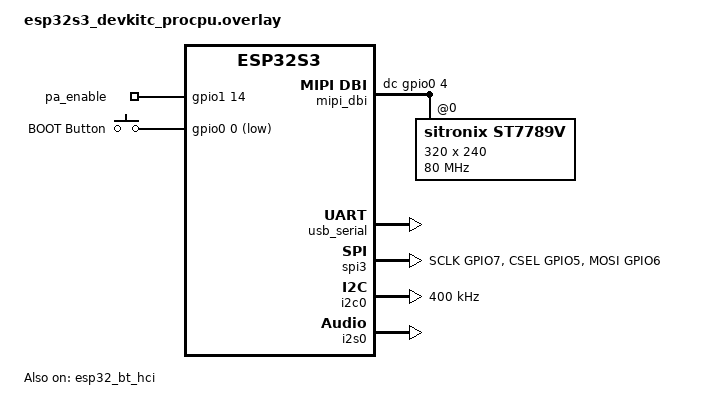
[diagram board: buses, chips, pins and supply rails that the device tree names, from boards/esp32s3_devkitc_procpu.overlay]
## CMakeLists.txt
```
cmake_minimum_required(VERSION 3.20.0)
find_package(Zephyr REQUIRED HINTS $ENV{ZEPHYR_BASE})
project(launcher)

zephyr_compile_definitions(MBEDTLS_TLS1_2_SIG_ALG_RSA_PSS_ENABLED)
zephyr_compile_definitions(MBEDTLS_X509_RSASSA_PSS_SUPPORT)

# ── Core sources ──
target_sources(app PRIVATE
    src/main.c
    src/boot_splash.c
    src/app_manager.c
    src/launcher_ui.c
    src/ble_hid.c
    src/ai_service.c
    src/audio.c
    src/base64.c
)

# ── App sources ──
target_sources(app PRIVATE
    src/apps/app_ai_assistant.c
    src/apps/app_camera.c
    src/apps/app_nes.c
    src/apps/app_photos.c
    src/apps/app_terminal.c
    src/apps/app_music.c
    src/apps/app_face.c
    src/apps/app_imu.c
)

# ── Embed 30s PCM clip into firmware as a C array (used by app_music) ──
generate_inc_file_for_target(
    app
    src/apps/song1_30s.pcm
    ${ZEPHYR_BINARY_DIR}/include/generated/song1_30s.pcm.inc
)
```

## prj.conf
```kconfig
# ── Console ──
CONFIG_PRINTK=y
CONFIG_CONSOLE=y
CONFIG_UART_CONSOLE=y
CONFIG_SERIAL=y
CONFIG_LOG=y
CONFIG_LOG_DEFAULT_LEVEL=3
CONFIG_LOG_BUFFER_SIZE=4096

# ── GPIO (backlight + PA + BOOT button) ──
CONFIG_GPIO=y

# ── I2C (ES8311 + ES7210 codec config) ──
CONFIG_I2C=y

# ── I2S (audio TX/RX) + DMA ──
CONFIG_I2S=y
CONFIG_DMA=y

# ── SPI + Display ──
CONFIG_SPI=y
CONFIG_DISPLAY=y
CONFIG_MIPI_DBI=y

# ── Camera (OV3660 via LCD-CAM parallel DVP) ──
CONFIG_VIDEO=y
CONFIG_VIDEO_BUFFER_POOL_NUM_MAX=2
CONFIG_VIDEO_BUFFER_POOL_ALIGN=32
CONFIG_VIDEO_BUFFER_USE_SHARED_MULTI_HEAP=y
CONFIG_VIDEO_BUFFER_SMH_ATTRIBUTE=2
CONFIG_DMA_ESP32_MAX_DESCRIPTOR_NUM=64
CONFIG_VIDEO_ESP32_DMA_BUFFER_MAX_SIZE=4092
CONFIG_VIDEO_OV3660_COLOR_BAR_TEST=n

# ── LVGL (pool must be >=24K for launcher UI objects) ──
CONFIG_LVGL=y
CONFIG_LV_Z_MEM_POOL_SIZE=20480
CONFIG_LV_USE_LOG=n
CONFIG_LV_FONT_MONTSERRAT_14=y
CONFIG_LV_FONT_MONTSERRAT_16=y
CONFIG_LV_FONT_MONTSERRAT_18=y
CONFIG_LV_FONT_MONTSERRAT_28=y
CONFIG_LV_FONT_SOURCE_HAN_SANS_SC_16_CJK=y
CONFIG_LV_COLOR_DEPTH_16=y
CONFIG_LV_COLOR_16_SWAP=y
CONFIG_LV_Z_VDB_SIZE=4
CONFIG_LV_USE_LABEL=y
CONFIG_LV_USE_BUTTON=y
CONFIG_LV_USE_IMAGE=y
# Disable default theme (adds shadows that crash on ESP32-S3 BLE+WiFi coex)
# Use simple theme instead — lightweight, no shadow rendering
CONFIG_LV_USE_THEME_DEFAULT=n
CONFIG_LV_USE_THEME_SIMPLE=y

# ── Bluetooth HID Host ──
CONFIG_BT=y
CONFIG_BT_CENTRAL=y
CONFIG_BT_SMP=y
CONFIG_BT_GATT_CLIENT=y
CONFIG_BT_GATT_AUTO_DISCOVER_CCC=y
CONFIG_BT_MAX_CONN=2
CONFIG_BT_MAX_PAIRED=4
CONFIG_BT_ATT_TX_COUNT=4
CONFIG_BT_L2CAP_TX_BUF_COUNT=4
CONFIG_BT_BUF_ACL_RX_SIZE=128
CONFIG_BT_BUF_ACL_TX_SIZE=128
CONFIG_BT_SMP_SC_ONLY=n
CONFIG_BT_SMP_SC_PAIR_ONLY=n
CONFIG_BT_SMP_ENFORCE_MITM=n
CONFIG_BT_SMP_ALLOW_UNAUTH_OVERWRITE=y
CONFIG_BT_KEYS_OVERWRITE_OLDEST=y
CONFIG_BT_BONDABLE=y
CONFIG_BT_LOG_LEVEL_WRN=y

# ── Networking ──
CONFIG_NETWORKING=y
CONFIG_NET_MGMT=y
CONFIG_NET_MGMT_EVENT=y
CONFIG_NET_MGMT_EVENT_INFO=y
CONFIG_NET_IPV4=y
CONFIG_NET_IPV6=n
CONFIG_NET_TCP=y
CONFIG_NET_UDP=y
CONFIG_NET_DHCPV4=y
CONFIG_NET_SOCKETS=y
CONFIG_POSIX_API=y

# ── WiFi (SPIRAM alloc saves DRAM for BLE+WiFi coexistence) ──
CONFIG_WIFI=y
CONFIG_WIFI_NM=y
CONFIG_NET_L2_WIFI_MGMT=y
CONFIG_ESP32_WIFI_STA_AUTO_DHCPV4=y
CONFIG_ESP32_WIFI_STATIC_RX_BUFFER_NUM=4
CONFIG_ESP32_WIFI_DYNAMIC_RX_BUFFER_NUM=8
CONFIG_ESP32_WIFI_DYNAMIC_TX_BUFFER_NUM=8
CONFIG_ESP32_WIFI_NET_ALLOC_SPIRAM=y
# Route wifi_malloc/wifi_calloc to PSRAM instead of system heap (k_malloc)
# Critical for BLE+WiFi coexistence: prevents 16KB DRAM heap exhaustion
CONFIG_ESP_WIFI_HEAP_SPIRAM=y

# ── DNS ──
CONFIG_DNS_RESOLVER=y
CONFIG_DNS_RESOLVER_AI_MAX_ENTRIES=2

# ── HTTP client ──
CONFIG_HTTP_CLIENT=y

# ── TLS / mbedTLS ──
CONFIG_MBEDTLS=y
CONFIG_MBEDTLS_BUILTIN=y
CONFIG_MBEDTLS_ENABLE_HEAP=y
CONFIG_MBEDTLS_HEAP_CUSTOM_SECTION=y
CONFIG_MBEDTLS_HEAP_SIZE=65536
CONFIG_MBEDTLS_SSL_MAX_CONTENT_LEN=16384
CONFIG_MBEDTLS_SSL_EXTENDED_MASTER_SECRET=n
CONFIG_MBEDTLS_SSL_CLIENT_COMPRESSED_POINT_FORMATS=y
CONFIG_MBEDTLS_PEM_CERTIFICATE_FORMAT=y
CONFIG_MBEDTLS_CIPHER_GCM_ENABLED=y
CONFIG_PSA_WANT_ALG_GCM=y
CONFIG_PSA_WANT_ALG_RSA_PSS=y
CONFIG_PSA_WANT_ALG_SHA_256=y
CONFIG_PSA_WANT_ALG_TLS12_PRF=y
CONFIG_PSA_WANT_ALG_HMAC=y
CONFIG_PSA_WANT_KEY_TYPE_DERIVE=y
CONFIG_MBEDTLS_KEY_EXCHANGE_ECDHE_RSA_ENABLED=y
CONFIG_MBEDTLS_KEY_EXCHANGE_RSA_ENABLED=y
CONFIG_MBEDTLS_ECP_DP_SECP256R1_ENABLED=y
CONFIG_MBEDTLS_ECP_DP_SECP384R1_ENABLED=y
CONFIG_MBEDTLS_ECDH_C=y
CONFIG_MBEDTLS_ECP_C=y
CONFIG_NET_SOCKETS_SOCKOPT_TLS=y
CONFIG_NET_SOCKETS_TLS_CERT_VERIFY_CALLBACK=y
CONFIG_NET_SOCKETS_TLS_MAX_CONTEXTS=2
CONFIG_MBEDTLS_SERVER_NAME_INDICATION=y
# mbedTLS debug: enable only when debugging TLS handshake
# CONFIG_MBEDTLS_DEBUG=y
# CONFIG_MBEDTLS_LOG_LEVEL_DBG=y
# Disable P256M hardware driver to avoid partial ECC acceleration
# conflict when BLE SMP + TLS coexist (P-256 accelerated, P-384 not)
CONFIG_MBEDTLS_PSA_P256M_DRIVER_ENABLED=n
# CONFIG_NET_SOCKETS_LOG_LEVEL_DBG=y

# ── Stack & buffers (tight DRAM budget) ──
CONFIG_MAIN_STACK_SIZE=5120
CONFIG_SYSTEM_WORKQUEUE_STACK_SIZE=2048
CONFIG_NET_TX_STACK_SIZE=1024
CONFIG_NET_RX_STACK_SIZE=1024
CONFIG_NET_MGMT_EVENT_STACK_SIZE=4096
CONFIG_NET_PKT_RX_COUNT=24
CONFIG_NET_PKT_TX_COUNT=10
CONFIG_NET_BUF_RX_COUNT=64
CONFIG_NET_BUF_TX_COUNT=24
CONFIG_NET_MAX_CONTEXTS=6

# ── Boost TCP/TLS receive throughput for qwen-tts-realtime audio deltas ──
# Server sends ~20KB chunks back-to-back; default 4KB TLS record + small TCP
# window starves the pipe. Observed: PC finishes in 620ms, ESP32 in 58s.
CONFIG_MBEDTLS_SSL_MAX_CONTENT_LEN=16384
CONFIG_NET_TCP_MAX_RECV_WINDOW_SIZE=32768
# Larger net_buf fragment so the *effective* TCP RX window approaches what we
# advertise. Default 128 caps real window to ~RX_COUNT*128/3 bytes. Set to
# 256 (not 512) to keep DRAM headroom on this board (84% DRAM baseline).
CONFIG_NET_BUF_DATA_SIZE=256

# ── WiFi RX path: more HW DMA buffers + larger BA window (PSRAM build) ──
# Default static=4 / dynamic=8 drops frames at the WiFi MAC layer under any
# real load. Constraint: RX_BA_WIN <= 2 * STATIC_RX_BUFFER_NUM (HAL check).
# Espressif-defaults static=10/dynamic=32 caused boot hang here — use the
# smallest values that satisfy BA_WIN=16 and still double the buffers.
CONFIG_ESP32_WIFI_STATIC_RX_BUFFER_NUM=8
CONFIG_ESP32_WIFI_DYNAMIC_RX_BUFFER_NUM=16
CONFIG_ESP32_WIFI_RX_BA_WIN=16
CONFIG_ESP32_WIFI_TX_BA_WIN=16
# Place WiFi TX/RX hot path in IRAM to avoid Flash cache misses on every pkt.
# (Disabled: caused boot hang on this board, likely IRAM/BLE conflict.)
# CONFIG_ESP32_WIFI_IRAM_OPT=y
# CONFIG_ESP32_WIFI_RX_IRAM_OPT=y

CONFIG_NET_MGMT_EVENT_QUEUE_TIMEOUT=5000
CONFIG_NET_MGMT_EVENT_QUEUE_SIZE=16

# ── Heap ──
CONFIG_HEAP_MEM_POOL_SIZE=16384
```

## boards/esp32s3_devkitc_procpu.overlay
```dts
/* CHD-ESP32-S3-BOX Launcher: Unified DTS Overlay
 *
 * Merges: LCD (SPI3) + BLE HCI + I2C0 + I2S0 + PA + BOOT Button + USB Console
 *
 * Phase 1: LCD + BLE only (I2C/I2S/Camera nodes present but used in later phases)
 */

#include <zephyr/dt-bindings/pinctrl/esp-pinctrl-common.h>
#include <dt-bindings/pinctrl/esp32s3-pinctrl.h>
#include <zephyr/dt-bindings/pinctrl/esp32s3-gpio-sigmap.h>
#include <zephyr/dt-bindings/mipi_dbi/mipi_dbi.h>

/ {
	chosen {
		zephyr,console = &usb_serial;
		zephyr,shell-uart = &usb_serial;
		zephyr,display = &st7789v;
	};

	/* ── LCD: ST7789V 320x240 SPI ── */
	mipi_dbi {
		compatible = "zephyr,mipi-dbi-spi";
		dc-gpios = <&gpio0 4 GPIO_ACTIVE_HIGH>;
		spi-dev = <&spi3>;
		write-only;
		#address-cells = <1>;
		#size-cells = <0>;

		st7789v: st7789v@0 {
			compatible = "sitronix,st7789v";
			mipi-max-frequency = <80000000>;
			reg = <0>;
			width = <320>;
			height = <240>;
			x-offset = <0>;
			y-offset = <0>;
			vcom = <0x19>;
			gctrl = <0x35>;
			vrhs = <0x12>;
			vdvs = <0x20>;
			mdac = <0x60>;
			gamma = <0x01>;
			colmod = <0x55>;
			inversion-off;
			lcm = <0x2c>;
			porch-param = [0c 0c 00 33 33];
			cmd2en-param = [5a 69 02 01];
			pwctrl1-param = [a4 a1];
			pvgam-param = [D0 04 0D 11 13 2B 3F 54 4C 18 0D 0B 1F 23];
			nvgam-param = [D0 04 0C 11 13 2C 3F 44 51 2F 1F 1F 20 23];
			ram-param = [00 F0];
			rgb-param = [CD 08 14];
			mipi-mode = "MIPI_DBI_MODE_SPI_4WIRE";
		};
	};

	/* ── PA enable (IO46 = gpio1 pin 14) ── */
	leds {
		compatible = "gpio-leds";
		pa_enable: pa {
			gpios = <&gpio1 14 GPIO_ACTIVE_HIGH>;
		};
	};

	/* ── BOOT button (IO0, push-to-talk / SD_CMD conflict) ── */
	buttons {
		compatible = "gpio-keys";
		boot_button: boot_button {
			gpios = <&gpio0 0 (GPIO_PULL_UP | GPIO_ACTIVE_LOW)>;
			label = "BOOT Button";
		};
	};

	aliases {
		sw0 = &boot_button;
	};
};

/* ── USB Serial Console ── */
&usb_serial {
	status = "okay";
};

/* ── BLE HCI ── */
&esp32_bt_hci {
	status = "okay";
};

/* ── Pin Control ── */
&pinctrl {
	/* SPI3: LCD (SCK=IO7, CS=IO5, MOSI=IO6) */
	spim3_default: spim3_default {
		group1 {
			pinmux = <SPIM3_SCLK_GPIO7>,
				 <SPIM3_CSEL_GPIO5>;
		};
		group2 {
			pinmux = <SPIM3_MOSI_GPIO6>;
			output-low;
		};
	};

	/* I2C0: ES8311(0x18) + ES7210(0x40) + OV3660(0x3C) + ICM-42607 */
	i2c0_default: i2c0_default {
		group1 {
			pinmux = <I2C0_SDA_GPIO8>,
				 <I2C0_SCL_GPIO18>;
			bias-pull-up;
			drive-open-drain;
			output-high;
		};
	};

	/* I2S0: Audio (MCLK=IO2, BCLK=IO17, WS=IO45, DOUT=IO15, DIN=IO16) */
	i2s0_default: i2s0_default {
		group1 {
			pinmux = <I2S0_MCLK_GPIO2>,
				 <I2S0_O_WS_GPIO45>,
				 <I2S0_O_BCK_GPIO17>,
				 <I2S0_O_SD_GPIO15>;
			output-enable;
		};
		group2 {
			pinmux = <I2S0_I_SD_GPIO16>;
			input-enable;
		};
	};
};

/* ── SPI3: LCD ── */
&spi3 {
	#address-cells = <1>;
	#size-cells = <0>;
	status = "okay";
	pinctrl-0 = <&spim3_default>;
	pinctrl-names = "default";
};

/* ── I2C0: Shared bus ── */
&i2c0 {
	status = "okay";
	clock-frequency = <I2C_BITRATE_FAST>;
	pinctrl-0 = <&i2c0_default>;
	pinctrl-names = "default";
};

/* ── I2S0: Audio TX/RX ── */
i2s_rxtx: &i2s0 {
	pinctrl-0 = <&i2s0_default>;
	pinctrl-names = "default";
	status = "okay";
};

/* ── DMA (for I2S + Camera) ── */
&dma {
	status = "okay";
};
```

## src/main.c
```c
/*
 * CHD-ESP32-S3-BOX Launcher — main entry point
 *
 * Flow:
 *   1. Backlight ON
 *   2. BLE HID Host init (async scanning)
 *   3. Register all app modules
 *   4. Build launcher home screen (icon grid)
 *   5. LVGL main loop + mouse/keyboard input processing
 *
 * ESC key or right-click → back to home screen
 */

#include <zephyr/kernel.h>
#include <zephyr/device.h>
#include <zephyr/devicetree.h>
#include <zephyr/drivers/display.h>
#include <zephyr/drivers/gpio.h>
#include <lvgl.h>

#include "resource.h"
#include "ble_hid.h"
#include "app_manager.h"
#include "launcher_ui.h"
#include "ai_service.h"
#include "boot_splash.h"

/* ── App module declarations ─────────────────────────── */

extern const app_info_t app_ai_assistant;
extern const app_info_t app_camera;
extern const app_info_t app_nes;
extern const app_info_t app_photos;
extern const app_info_t app_terminal;
extern const app_info_t app_music;
extern const app_info_t app_face;
extern const app_info_t app_imu;

/* ── LVGL Mouse input read callback ──────────────────── */

static void mouse_read_cb(lv_indev_t *indev, lv_indev_data_t *data)
{
	data->point.x = g_mouse.x;
	data->point.y = g_mouse.y;
	data->state = (g_mouse.buttons & 0x01)
		      ? LV_INDEV_STATE_PRESSED
		      : LV_INDEV_STATE_RELEASED;
}

/* ── LVGL Keyboard input read callback ──────────────── */

static uint32_t last_key;
static lv_indev_state_t last_state = LV_INDEV_STATE_RELEASED;

static void kb_read_cb(lv_indev_t *indev, lv_indev_data_t *data)
{
	struct kb_event evt;

	if (k_msgq_get(&kb_events, &evt, K_NO_WAIT) == 0) {
		last_key = evt.key;
		last_state = evt.pressed ? LV_INDEV_STATE_PRESSED
					: LV_INDEV_STATE_RELEASED;
	}
	data->key = last_key;
	data->state = last_state;
}

/* ── Global navigation: ESC / right-click → home ───── */

static void check_global_nav(void)
{
	if (!app_manager_is_app_active()) {
		return;
	}

	/* Right-click (button bit 1) → back to home */
	static bool prev_rclick;
	bool rclick = (g_mouse.buttons & 0x02) != 0;
	if (rclick && !prev_rclick) {
		app_manager_back_to_home();
	}
	prev_rclick = rclick;

	/* ESC key is handled via keyboard group event (LV_KEY_ESC = 27) */
	/* We check the msgq peek for ESC specifically */
	struct kb_event evt;
	if (k_msgq_peek(&kb_events, &evt) == 0) {
		if (evt.key == 27 && evt.pressed) {
			/* Consume the ESC event */
			k_msgq_get(&kb_events, &evt, K_NO_WAIT);
			app_manager_back_to_home();
		}
	}
}

/* ── Main ────────────────────────────────────────────── */

int main(void)
{
	printk("\n=== CHD-ESP32-S3-BOX Launcher ===\n");

	/* 1. Backlight ON (IO47 = GPIO1 pin 15) */
	const struct device *gpio1 = DEVICE_DT_GET(BLK_NODE);
	if (device_is_ready(gpio1)) {
		gpio_pin_configure(gpio1, BLK_PIN, GPIO_OUTPUT_ACTIVE);
		gpio_pin_set(gpio1, BLK_PIN, 1);
		printk("[HW] Backlight ON\n");
	}

	/* 2. Display device */
	const struct device *display = DEVICE_DT_GET(DT_CHOSEN(zephyr_display));
	if (!device_is_ready(display)) {
		printk("ERROR: Display not ready!\n");
		return 0;
	}

	/* 3. Init mouse to screen center */
	g_mouse.x = SCREEN_WIDTH / 2;
	g_mouse.y = SCREEN_HEIGHT / 2;

	/* 4. BLE HID Host (async — callbacks handle connection) */
	ble_hid_init();

	/* 5. LVGL Mouse Input */
	lv_indev_t *mouse_indev = lv_indev_create();
	lv_indev_set_type(mouse_indev, LV_INDEV_TYPE_POINTER);
	lv_indev_set_read_cb(mouse_indev, mouse_read_cb);

	/* Mouse cursor: red circle with white border */
	lv_obj_t *cursor = lv_obj_create(lv_layer_top());
	lv_obj_remove_style_all(cursor);
	lv_obj_set_size(cursor, 12, 12);
	lv_obj_set_style_radius(cursor, LV_RADIUS_CIRCLE, 0);
	lv_obj_set_style_bg_color(cursor, lv_palette_main(LV_PALETTE_RED), 0);
	lv_obj_set_style_bg_opa(cursor, LV_OPA_COVER, 0);
	lv_obj_set_style_border_width(cursor, 2, 0);
	lv_obj_set_style_border_color(cursor, lv_color_white(), 0);
	lv_indev_set_cursor(mouse_indev, cursor);
	/* Hide cursor during boot splash; revealed after launcher home loads */
	lv_obj_add_flag(cursor, LV_OBJ_FLAG_HIDDEN);

	/* 6. LVGL Keyboard Input */
	lv_indev_t *kb_indev = lv_indev_create();
	lv_indev_set_type(kb_indev, LV_INDEV_TYPE_KEYPAD);
	lv_indev_set_read_cb(kb_indev, kb_read_cb);

	lv_group_t *group = lv_group_create();
	lv_indev_set_group(kb_indev, group);
	app_manager_set_kb_group(group);

	/* 6.5 First render so display is initialized, then turn backlight visible */
	lv_timer_handler();
	display_blanking_off(display);

	/* 6.6 Linux-style dmesg boot splash (~2.5s, blocking) */
	boot_splash_run(display);

	/* 7. Register all apps */
	app_manager_register(&app_ai_assistant);
	app_manager_register(&app_camera);
	app_manager_register(&app_nes);
	app_manager_register(&app_photos);
	app_manager_register(&app_terminal);
	app_manager_register(&app_music);
	app_manager_register(&app_face);
	app_manager_register(&app_imu);

	/* 8. Build launcher home screen */
	launcher_ui_init();

	/* Splash done -- show mouse cursor now */
	lv_obj_clear_flag(cursor, LV_OBJ_FLAG_HIDDEN);

#if defined(CONFIG_AI_AUTO_DEBUG)
	/* Auto-debug: start AI service immediately (no need to open the app) */
	printk("[AUTO-DEBUG] Starting AI service automatically...\n");
	ai_service_init();
#endif

	/* 9. First render of launcher home (display already on after splash) */
	lv_timer_handler();
	printk("[Launcher] Running...\n");

	/* ── Main loop ──────────────────────────────────── */
	while (1) {
		/* Global navigation check */
		check_global_nav();

		/* Update status bar */
		if (ai_service_wifi_connected()) {
			if (g_mouse.connected && g_kb_connected) {
				launcher_ui_update_status("WiFi+M+KB");
			} else if (g_mouse.connected) {
				launcher_ui_update_status("WiFi+Mouse");
			} else if (g_kb_connected) {
				launcher_ui_update_status("WiFi+KB");
			} else {
				launcher_ui_update_status("WiFi OK");
			}
		} else if (g_mouse.connected && g_kb_connected) {
			launcher_ui_update_status("Mouse+KB");
		} else if (g_mouse.connected) {
			char buf[48];
			snprintf(buf, sizeof(buf), "M: %s", g_mouse.name);
			launcher_ui_update_status(buf);
		} else if (g_kb_connected) {
			launcher_ui_update_status("KB only");
		} else {
			launcher_ui_update_status("BLE: Scanning...");
		}

		/* LVGL tick */
		uint32_t sleep_ms = lv_timer_handler();
		k_msleep(MIN(sleep_ms, 33));  /* Cap at ~30 FPS */
	}
}
```

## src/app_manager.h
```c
/*
 * app_manager.h — Application lifecycle manager
 *
 * Each "app" is a set of callbacks that create/destroy an LVGL screen.
 * The launcher desktop is the home screen; apps are launched by switching
 * to their screen and destroyed when returning home.
 */

#ifndef APP_MANAGER_H
#define APP_MANAGER_H

#include <lvgl.h>
#include <stdbool.h>

#define APP_MAX_COUNT 12

typedef struct app_info {
	const char *name;            /* Display name under icon */
	lv_color_t  icon_color;      /* Icon background color */
	const char *icon_symbol;     /* Symbol/emoji text on icon */
	void (*on_create)(lv_obj_t *screen);  /* Build app UI on this screen */
	void (*on_destroy)(void);             /* Cleanup resources */
} app_info_t;

/* Register an app (call before launcher_ui_init) */
int  app_manager_register(const app_info_t *app);

/* Get registered app count and info */
int  app_manager_get_count(void);
const app_info_t *app_manager_get(int id);

/* Launch app by id — creates a new screen, calls on_create */
void app_manager_launch(int app_id);

/* Return to home screen — calls on_destroy of current app */
void app_manager_back_to_home(void);

/* Check if an app is currently active */
bool app_manager_is_app_active(void);

/* Set/get the home screen object (set by launcher_ui) */
void app_manager_set_home_screen(lv_obj_t *home);

/* Set the LVGL keyboard input group (for focus management) */
void app_manager_set_kb_group(lv_group_t *group);
lv_group_t *app_manager_get_kb_group(void);

#endif /* APP_MANAGER_H */
```

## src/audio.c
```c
/*
 * audio.c — ES8311 DAC + ES7210 ADC initialization, I2S record & playback
 *
 * ES8311 (0x18): DAC for speaker output via I2S TX
 * ES7210 (0x40): ADC for microphone input via I2S RX
 * I2S0: shared bus, master mode (generates MCLK/BCLK/WS)
 * PA: GPIO46 (gpio1 pin 14), controls speaker amplifier
 */

#include <zephyr/kernel.h>
#include <zephyr/device.h>
#include <zephyr/drivers/i2c.h>
#include <zephyr/drivers/i2s.h>
#include <zephyr/drivers/gpio.h>
#include <zephyr/logging/log.h>
#include <string.h>

#include "audio.h"

LOG_MODULE_REGISTER(audio, LOG_LEVEL_INF);

/* ── ES8311 registers ── */
#define ES8311_ADDR              0x18
#define ES8311_RESET_REG00       0x00
#define ES8311_CLK_MANAGER_REG01 0x01
#define ES8311_CLK_MANAGER_REG02 0x02
#define ES8311_CLK_MANAGER_REG03 0x03
#define ES8311_CLK_MANAGER_REG04 0x04
#define ES8311_CLK_MANAGER_REG05 0x05
#define ES8311_CLK_MANAGER_REG06 0x06
#define ES8311_CLK_MANAGER_REG07 0x07
#define ES8311_CLK_MANAGER_REG08 0x08
#define ES8311_SDPIN_REG09       0x09
#define ES8311_SDPOUT_REG0A      0x0A
#define ES8311_SYSTEM_REG0D      0x0D
#define ES8311_SYSTEM_REG0E      0x0E
#define ES8311_SYSTEM_REG12      0x12
#define ES8311_SYSTEM_REG13      0x13
#define ES8311_ADC_REG16         0x16
#define ES8311_ADC_REG1C         0x1C
#define ES8311_DAC_REG31         0x31
#define ES8311_DAC_REG32         0x32
#define ES8311_DAC_REG37         0x37
#define ES8311_CHIPID1_REG_FD    0xFD
#define ES8311_CHIPID2_REG_FE    0xFE

/* ── ES7210 registers ── */
#define ES7210_ADDR                 0x40
#define ES7210_RESET_REG00          0x00
#define ES7210_CLOCK_OFF_REG01      0x01
#define ES7210_MAINCLK_REG02        0x02
#define ES7210_LRCK_DIVH_REG04      0x04
#define ES7210_LRCK_DIVL_REG05      0x05
#define ES7210_POWER_DOWN_REG06     0x06
#define ES7210_OSR_REG07            0x07
#define ES7210_TIME_CONTROL0_REG09  0x09
#define ES7210_TIME_CONTROL1_REG0A  0x0A
#define ES7210_SDP_INTERFACE1_REG11 0x11
#define ES7210_SDP_INTERFACE2_REG12 0x12
#define ES7210_ADC12_HPF2_REG22     0x22
#define ES7210_ADC12_HPF1_REG23     0x23
#define ES7210_ADC34_HPF2_REG20     0x20
#define ES7210_ADC34_HPF1_REG21     0x21
#define ES7210_ANALOG_REG40         0x40
#define ES7210_MIC12_BIAS_REG41     0x41
#define ES7210_MIC34_BIAS_REG42     0x42
#define ES7210_MIC1_GAIN_REG43      0x43
#define ES7210_MIC2_GAIN_REG44      0x44
#define ES7210_MIC3_GAIN_REG45      0x45
#define ES7210_MIC4_GAIN_REG46      0x46
#define ES7210_MIC1_POWER_REG47     0x47
#define ES7210_MIC2_POWER_REG48     0x48
#define ES7210_MIC3_POWER_REG49     0x49
#define ES7210_MIC4_POWER_REG4A     0x4A
#define ES7210_MIC12_POWER_REG4B    0x4B
#define ES7210_MIC34_POWER_REG4C    0x4C

/* ── I2S config ── */
#define I2S_NODE          DT_NODELABEL(i2s_rxtx)
#define SAMPLES_PER_BLOCK ((RECORD_SAMPLE_RATE / 100) * NUM_CHANNELS)  /* 320 */
#define BLOCK_SIZE        (SAMPLES_PER_BLOCK * sizeof(int16_t))        /* 640 */
#define BLOCK_COUNT       12

/* I2S DMA slab buffers in PSRAM — prevents DMA race conditions from
 * corrupting DRAM structures (free list, LVGL pool, etc).
 * Slabs are re-initialized before each recording/playback session.
 * TX slab MUST be in internal SRAM — GDMA reads bypass the SPI cache so
 * data written by the CPU through cache is invisible to DMA when the
 * buffer sits in PSRAM.  RX slab also in SRAM for same cache coherence
 * reason (DMA writes may not be visible to CPU through cached PSRAM). */
static uint8_t tx_slab_buf[BLOCK_SIZE * BLOCK_COUNT] __attribute__((aligned(4)));
static uint8_t rx_slab_buf[BLOCK_SIZE * BLOCK_COUNT] __attribute__((aligned(4)));

static struct k_mem_slab tx_mem_slab;
static struct k_mem_slab rx_mem_slab;

/* ── PA GPIO ── */
static const struct gpio_dt_spec pa_gpio =
	GPIO_DT_SPEC_GET(DT_NODELABEL(pa_enable), gpios);

/* ── Devices ── */
static const struct device *i2c_dev;
static const struct device *i2s_dev;

/* ── I2C helpers ── */
static int es8311_write_reg(uint8_t reg, uint8_t val)
{
	uint8_t buf[2] = {reg, val};
	return i2c_write(i2c_dev, buf, 2, ES8311_ADDR);
}

static int es7210_write_reg(uint8_t reg, uint8_t val)
{
	uint8_t buf[2] = {reg, val};
	return i2c_write(i2c_dev, buf, 2, ES7210_ADDR);
}

/* ── ES8311 init: 16kHz, 16-bit, I2S slave, MCLK=4.096MHz ── */
static int es8311_init(void)
{
	int ret;

	/* Reset — must go through 0x1F → 0x00 → 0x80 sequence */
	ret = es8311_write_reg(ES8311_RESET_REG00, 0x1F);
	if (ret) return ret;
	k_msleep(20);
	ret = es8311_write_reg(ES8311_RESET_REG00, 0x00);
	if (ret) return ret;
	k_msleep(20);
	ret = es8311_write_reg(ES8311_RESET_REG00, 0x80);
	if (ret) return ret;

	/* Clock config — match known-working es8311_test/nes_emulator values
	 * MCLK from external pin, BCLK from MCLK, dividers for 16kHz */
	ret = es8311_write_reg(ES8311_CLK_MANAGER_REG01, 0x3F);
	if (ret) return ret;
	ret = es8311_write_reg(ES8311_CLK_MANAGER_REG02, 0x00);
	if (ret) return ret;
	ret = es8311_write_reg(ES8311_CLK_MANAGER_REG03, 0x10);
	if (ret) return ret;
	ret = es8311_write_reg(ES8311_CLK_MANAGER_REG04, 0x10);
	if (ret) return ret;
	ret = es8311_write_reg(ES8311_CLK_MANAGER_REG05, 0x00);
	if (ret) return ret;
	ret = es8311_write_reg(ES8311_ADC_REG16, 0x24);
	if (ret) return ret;
	ret = es8311_write_reg(ES8311_CLK_MANAGER_REG06, 0x03);
	if (ret) return ret;
	ret = es8311_write_reg(ES8311_CLK_MANAGER_REG07, 0x00);
	if (ret) return ret;
	ret = es8311_write_reg(ES8311_CLK_MANAGER_REG08, 0xFF);
	if (ret) return ret;

	/* I2S format: slave mode, 16-bit */
	ret = es8311_write_reg(ES8311_SDPIN_REG09, 0x0C);
	if (ret) return ret;
	ret = es8311_write_reg(ES8311_SDPOUT_REG0A, 0x0C);
	if (ret) return ret;

	/* Power up analog */
	ret = es8311_write_reg(ES8311_SYSTEM_REG0D, 0x01);
	if (ret) return ret;
	ret = es8311_write_reg(ES8311_SYSTEM_REG0E, 0x02);
	if (ret) return ret;
	ret = es8311_write_reg(ES8311_SYSTEM_REG12, 0x00);
	if (ret) return ret;
	ret = es8311_write_reg(ES8311_SYSTEM_REG13, 0x10);
	if (ret) return ret;

	/* ADC EQ bypass, cancel DC offset */
	ret = es8311_write_reg(ES8311_ADC_REG1C, 0x6A);
	if (ret) return ret;

	/* Bypass DAC equalizer */
	ret = es8311_write_reg(ES8311_DAC_REG37, 0x08);
	if (ret) return ret;

	/* DAC volume ~80% */
	ret = es8311_write_reg(ES8311_DAC_REG32, 0xC0);
	if (ret) return ret;

	/* Unmute DAC */
	ret = es8311_write_reg(ES8311_DAC_REG31, 0x00);
	if (ret) return ret;

	return 0;
}

/* ── ES7210 init: 16kHz, 16-bit, 4-ch ADC, MIC gain 30dB ── */
static int es7210_init(void)
{
	int ret;

	/* Software reset */
	ret = es7210_write_reg(ES7210_RESET_REG00, 0xFF);
	if (ret) return ret;
	ret = es7210_write_reg(ES7210_RESET_REG00, 0x32);
	if (ret) return ret;

	/* Power-up timing */
	ret = es7210_write_reg(ES7210_TIME_CONTROL0_REG09, 0x30);
	if (ret) return ret;
	ret = es7210_write_reg(ES7210_TIME_CONTROL1_REG0A, 0x30);
	if (ret) return ret;

	/* HPF config */
	ret = es7210_write_reg(ES7210_ADC12_HPF1_REG23, 0x2A);
	if (ret) return ret;
	ret = es7210_write_reg(ES7210_ADC12_HPF2_REG22, 0x0A);
	if (ret) return ret;
	ret = es7210_write_reg(ES7210_ADC34_HPF1_REG21, 0x2A);
	if (ret) return ret;
	ret = es7210_write_reg(ES7210_ADC34_HPF2_REG20, 0x0A);
	if (ret) return ret;

	/* I2S format: 16-bit, standard I2S */
	ret = es7210_write_reg(ES7210_SDP_INTERFACE1_REG11, 0x60);
	if (ret) return ret;
	ret = es7210_write_reg(ES7210_SDP_INTERFACE2_REG12, 0x00);
	if (ret) return ret;

	/* Analog power */
	ret = es7210_write_reg(ES7210_ANALOG_REG40, 0xC3);
	if (ret) return ret;

	/* MIC bias 2.87V */
	ret = es7210_write_reg(ES7210_MIC12_BIAS_REG41, 0x70);
	if (ret) return ret;
	ret = es7210_write_reg(ES7210_MIC34_BIAS_REG42, 0x70);
	if (ret) return ret;

	/* MIC gain 30dB */
	ret = es7210_write_reg(ES7210_MIC1_GAIN_REG43, 0x1A);
	if (ret) return ret;
	ret = es7210_write_reg(ES7210_MIC2_GAIN_REG44, 0x1A);
	if (ret) return ret;
	ret = es7210_write_reg(ES7210_MIC3_GAIN_REG45, 0x1A);
	if (ret) return ret;
	ret = es7210_write_reg(ES7210_MIC4_GAIN_REG46, 0x1A);
	if (ret) return ret;

	/* Power on MIC1-4 */
	ret = es7210_write_reg(ES7210_MIC1_POWER_REG47, 0x08);
	if (ret) return ret;
	ret = es7210_write_reg(ES7210_MIC2_POWER_REG48, 0x08);
	if (ret) return ret;
	ret = es7210_write_reg(ES7210_MIC3_POWER_REG49, 0x08);
	if (ret) return ret;
	ret = es7210_write_reg(ES7210_MIC4_POWER_REG4A, 0x08);
	if (ret) return ret;

	/* Clock: MCLK=4096000, fs=16000 */
	ret = es7210_write_reg(ES7210_OSR_REG07, 0x20);
	if (ret) return ret;
	ret = es7210_write_reg(ES7210_MAINCLK_REG02, 0xC1);
	if (ret) return ret;
	ret = es7210_write_reg(ES7210_LRCK_DIVH_REG04, 0x01);
	if (ret) return ret;
	ret = es7210_write_reg(ES7210_LRCK_DIVL_REG05, 0x00);
	if (ret) return ret;

	/* Power down DLL */
	ret = es7210_write_reg(ES7210_POWER_DOWN_REG06, 0x04);
	if (ret) return ret;

	/* Power on MIC bias & ADC & PGA */
	ret = es7210_write_reg(ES7210_MIC12_POWER_REG4B, 0x0F);
	if (ret) return ret;
	ret = es7210_write_reg(ES7210_MIC34_POWER_REG4C, 0x0F);
	if (ret) return ret;

	/* Enable device */
	ret = es7210_write_reg(ES7210_RESET_REG00, 0x71);
	if (ret) return ret;
	ret = es7210_write_reg(ES7210_RESET_REG00, 0x41);
	if (ret) return ret;

	return 0;
}

/* ================================================================
 *  Public API
 * ================================================================ */

/* ── I2S configured once flag ── */
static bool i2s_configured;

int audio_codec_init(void)
{
	int ret;

	/* I2C */
	i2c_dev = DEVICE_DT_GET(DT_NODELABEL(i2c0));
	if (!device_is_ready(i2c_dev)) {
		LOG_ERR("I2C device not ready");
		return -ENODEV;
	}

	/* I2S */
	i2s_dev = DEVICE_DT_GET(I2S_NODE);
	if (!device_is_ready(i2s_dev)) {
		LOG_ERR("I2S device not ready");
		return -ENODEV;
	}

	/* ES8311 DAC */
	ret = es8311_init();
	if (ret) {
		LOG_ERR("ES8311 init failed: %d", ret);
		return ret;
	}
	LOG_INF("ES8311 DAC initialized");

	/* ES7210 ADC */
	ret = es7210_init();
	if (ret) {
		LOG_ERR("ES7210 init failed: %d", ret);
		return ret;
	}
	LOG_INF("ES7210 ADC initialized");

	/* PA GPIO */
	if (!gpio_is_ready_dt(&pa_gpio)) {
		LOG_ERR("PA GPIO not ready");
		return -ENODEV;
	}
	ret = gpio_pin_configure_dt(&pa_gpio, GPIO_OUTPUT_INACTIVE);
	if (ret) {
		LOG_ERR("PA GPIO config failed: %d", ret);
		return ret;
	}

	/* Initialize I2S memory slabs (PSRAM buffers) */
	k_mem_slab_init(&tx_mem_slab, tx_slab_buf, BLOCK_SIZE, BLOCK_COUNT);
	k_mem_slab_init(&rx_mem_slab, rx_slab_buf, BLOCK_SIZE, BLOCK_COUNT);

	/* Configure I2S TX + RX once — both share 16kHz, 16-bit, stereo */
	struct i2s_config tx_cfg = {
		.word_size = SAMPLE_BITS,
		.channels = NUM_CHANNELS,
		.format = I2S_FMT_DATA_FORMAT_I2S,
		.options = I2S_OPT_BIT_CLK_MASTER | I2S_OPT_FRAME_CLK_MASTER,
		.frame_clk_freq = RECORD_SAMPLE_RATE,
		.mem_slab = &tx_mem_slab,
		.block_size = BLOCK_SIZE,
		.timeout = 1000,
	};
	ret = i2s_configure(i2s_dev, I2S_DIR_TX, &tx_cfg);
	if (ret) {
		LOG_ERR("I2S TX config failed: %d", ret);
		return ret;
	}

	struct i2s_config rx_cfg = {
		.word_size = SAMPLE_BITS,
		.channels = NUM_CHANNELS,
		.format = I2S_FMT_DATA_FORMAT_I2S,
		.options = I2S_OPT_BIT_CLK_MASTER | I2S_OPT_FRAME_CLK_MASTER,
		.frame_clk_freq = RECORD_SAMPLE_RATE,
		.mem_slab = &rx_mem_slab,
		.block_size = BLOCK_SIZE,
		.timeout = 2000,
	};
	ret = i2s_configure(i2s_dev, I2S_DIR_RX, &rx_cfg);
	if (ret) {
		LOG_ERR("I2S RX config failed: %d", ret);
		return ret;
	}

	i2s_configured = true;
	LOG_INF("Audio codecs ready (16kHz, 16-bit)");
	return 0;
}

void audio_pa_enable(int on)
{
	gpio_pin_set_dt(&pa_gpio, on ? 1 : 0);
}

int audio_record(int16_t *pcm_buf, int max_samples, volatile bool *stop_flag)
{
	int ret;
	int mono_idx = 0;
	bool tx_keepalive_ok = true;
	const int tx_prefill_blocks = MIN(4, BLOCK_COUNT - 1);
	int tx_prefilled = 0;

	/* Force I2S to NOT_READY state regardless of current state.
	 * DROP is valid from RUNNING, STOPPING, READY, ERROR — only
	 * NOT_READY is rejected, which we silently ignore. */
	i2s_trigger(i2s_dev, I2S_DIR_RX, I2S_TRIGGER_DROP);
	i2s_trigger(i2s_dev, I2S_DIR_TX, I2S_TRIGGER_DROP);
	k_msleep(100);

	/* Reinitialize mem slabs with fresh PSRAM buffers — this repairs any
	 * DMA race conditions that corrupted the free list during previous use */
	k_mem_slab_init(&tx_mem_slab, tx_slab_buf, BLOCK_SIZE, BLOCK_COUNT);
	k_mem_slab_init(&rx_mem_slab, rx_slab_buf, BLOCK_SIZE, BLOCK_COUNT);

	/* Re-configure both directions (from NOT_READY → READY) */
	struct i2s_config tx_cfg = {
		.word_size = SAMPLE_BITS,
		.channels = NUM_CHANNELS,
		.format = I2S_FMT_DATA_FORMAT_I2S,
		.options = I2S_OPT_BIT_CLK_MASTER | I2S_OPT_FRAME_CLK_MASTER,
		.frame_clk_freq = RECORD_SAMPLE_RATE,
		.mem_slab = &tx_mem_slab,
		.block_size = BLOCK_SIZE,
		.timeout = 1000,
	};
	ret = i2s_configure(i2s_dev, I2S_DIR_TX, &tx_cfg);
	if (ret) {
		LOG_ERR("I2S TX config failed: %d", ret);
		return ret;
	}

	struct i2s_config rx_cfg = {
		.word_size = SAMPLE_BITS,
		.channels = NUM_CHANNELS,
		.format = I2S_FMT_DATA_FORMAT_I2S,
		.options = I2S_OPT_BIT_CLK_MASTER | I2S_OPT_FRAME_CLK_MASTER,
		.frame_clk_freq = RECORD_SAMPLE_RATE,
		.mem_slab = &rx_mem_slab,
		.block_size = BLOCK_SIZE,
		.timeout = 2000,
	};
	ret = i2s_configure(i2s_dev, I2S_DIR_RX, &rx_cfg);
	if (ret) {
		LOG_ERR("I2S RX config failed: %d", ret);
		return ret;
	}

	/* Additional settle time for DMA hardware */
	k_msleep(50);

	/* Pre-fill more TX silence so RX has stable clocks before the loop starts. */
	for (int i = 0; i < tx_prefill_blocks; i++) {
		void *blk;
		ret = k_mem_slab_alloc(&tx_mem_slab, &blk, K_NO_WAIT);
		if (ret) {
			break;
		}
		memset(blk, 0, BLOCK_SIZE);
		ret = i2s_write(i2s_dev, blk, BLOCK_SIZE);
		if (ret) {
			k_mem_slab_free(&tx_mem_slab, blk);
			if (ret == -EAGAIN || ret == -ENOMEM) {
				break;
			}
			LOG_ERR("I2S TX write failed: %d", ret);
			return ret;
		}
		tx_prefilled++;
	}

	if (tx_prefilled < 2) {
		LOG_ERR("I2S TX prefill too small: %d", tx_prefilled);
		return -EIO;
	}

	/* Start TX then RX */
	ret = i2s_trigger(i2s_dev, I2S_DIR_TX, I2S_TRIGGER_START);
	if (ret) {
		LOG_ERR("I2S TX start failed: %d", ret);
		return ret;
	}
	ret = i2s_trigger(i2s_dev, I2S_DIR_RX, I2S_TRIGGER_START);
	if (ret) {
		LOG_ERR("I2S RX start failed: %d", ret);
		return ret;
	}

	LOG_INF("Recording started...");

	/* Read blocks until stop_flag or max_samples reached */
	while (!(*stop_flag) && mono_idx < max_samples) {
		void *rx_blk;
		size_t rx_sz;
		void *tx_blk;

		/* Feed TX with silence to keep clocks running */
		if (tx_keepalive_ok &&
		    k_mem_slab_alloc(&tx_mem_slab, &tx_blk, K_MSEC(20)) == 0) {
			memset(tx_blk, 0, BLOCK_SIZE);
			ret = i2s_write(i2s_dev, tx_blk, BLOCK_SIZE);
			if (ret < 0) {
				k_mem_slab_free(&tx_mem_slab, tx_blk);
				tx_keepalive_ok = false;
				LOG_WRN("Recording TX keepalive disabled: %d", ret);
			}
		}

		/* Read one block of stereo data */
		ret = i2s_read(i2s_dev, &rx_blk, &rx_sz);
		if (ret) {
			LOG_WRN("I2S read error: %d", ret);
			break;
		}

		/* Extract left channel (mono) from interleaved stereo */
		int16_t *stereo = (int16_t *)rx_blk;
		int stereo_samples = rx_sz / sizeof(int16_t);
		for (int i = 0; i < stereo_samples && mono_idx < max_samples; i += 2) {
			pcm_buf[mono_idx++] = stereo[i];  /* left channel */
		}

		k_mem_slab_free(&rx_mem_slab, rx_blk);
	}

	/* Stop I2S */
	i2s_trigger(i2s_dev, I2S_DIR_RX, I2S_TRIGGER_DROP);
	i2s_trigger(i2s_dev, I2S_DIR_TX, I2S_TRIGGER_DROP);

	/* Allow DMA to settle */
	k_msleep(100);

	/* Drain any remaining RX blocks */
	while (1) {
		void *blk;
		size_t sz;
		if (i2s_read(i2s_dev, &blk, &sz) != 0) break;
		k_mem_slab_free(&rx_mem_slab, blk);
	}

	LOG_INF("Recording stopped: %d samples (%.1fs)",
		mono_idx, (float)mono_idx / RECORD_SAMPLE_RATE);

	return mono_idx;
}

int audio_play(const int16_t *pcm_buf, int num_samples)
{
	int ret;

	/* Stop any previous I2S activity */
	i2s_trigger(i2s_dev, I2S_DIR_RX, I2S_TRIGGER_DROP);
	i2s_trigger(i2s_dev, I2S_DIR_TX, I2S_TRIGGER_DROP);
	k_msleep(100);

	/* Reinit slabs to ensure clean state */
	k_mem_slab_init(&tx_mem_slab, tx_slab_buf, BLOCK_SIZE, BLOCK_COUNT);

	/* Re-configure I2S TX */
	struct i2s_config tx_cfg = {
		.word_size = SAMPLE_BITS,
		.channels = NUM_CHANNELS,
		.format = I2S_FMT_DATA_FORMAT_I2S,
		.options = I2S_OPT_BIT_CLK_MASTER | I2S_OPT_FRAME_CLK_MASTER,
		.frame_clk_freq = PLAYBACK_SAMPLE_RATE,
		.mem_slab = &tx_mem_slab,
		.block_size = BLOCK_SIZE,
		.timeout = 1000,
	};
	ret = i2s_configure(i2s_dev, I2S_DIR_TX, &tx_cfg);
	if (ret) {
		LOG_ERR("I2S TX reconfig failed: %d", ret);
		return ret;
	}

	audio_pa_enable(1);

	/* Mono samples per block (stereo block has SAMPLES_PER_BLOCK/2 mono) */
	int mono_per_block = SAMPLES_PER_BLOCK / NUM_CHANNELS;  /* 160 */
	int pcm_idx = 0;
	int blocks_written = 0;

	/* Pre-fill 2 blocks */
	for (int pf = 0; pf < 2 && pcm_idx < num_samples; pf++) {
		void *blk;
		ret = k_mem_slab_alloc(&tx_mem_slab, &blk, K_NO_WAIT);
		if (ret) {
			LOG_ERR("TX block alloc failed");
			audio_pa_enable(0);
			return ret;
		}
		int16_t *out = (int16_t *)blk;
		int count = 0;
		while (count < mono_per_block && pcm_idx < num_samples) {
			out[count * 2] = pcm_buf[pcm_idx];      /* Left */
			out[count * 2 + 1] = pcm_buf[pcm_idx];  /* Right */
			pcm_idx++;
			count++;
		}
		/* Zero-fill remainder if not enough samples */
		while (count < mono_per_block) {
			out[count * 2] = 0;
			out[count * 2 + 1] = 0;
			count++;
		}
		ret = i2s_write(i2s_dev, blk, BLOCK_SIZE);
		if (ret) {
			LOG_ERR("I2S write failed");
			k_mem_slab_free(&tx_mem_slab, blk);
			audio_pa_enable(0);
			return ret;
		}
		blocks_written++;
	}

	/* Start TX */
	ret = i2s_trigger(i2s_dev, I2S_DIR_TX, I2S_TRIGGER_START);
	if (ret) {
		LOG_ERR("I2S TX start failed: %d", ret);
		audio_pa_enable(0);
		return ret;
	}

	LOG_INF("Playing %d samples (%.1fs)...",
		num_samples, (float)num_samples / PLAYBACK_SAMPLE_RATE);

	/* Continue feeding blocks */
	while (pcm_idx < num_samples) {
		void *blk;
		ret = k_mem_slab_alloc(&tx_mem_slab, &blk, K_MSEC(500));
		if (ret) {
			LOG_WRN("TX alloc timeout");
			continue;
		}
		int16_t *out = (int16_t *)blk;
		int count = 0;
		while (count < mono_per_block && pcm_idx < num_samples) {
			out[count * 2] = pcm_buf[pcm_idx];
			out[count * 2 + 1] = pcm_buf[pcm_idx];
			pcm_idx++;
			count++;
		}
		while (count < mono_per_block) {
			out[count * 2] = 0;
			out[count * 2 + 1] = 0;
			count++;
		}
		ret = i2s_write(i2s_dev, blk, BLOCK_SIZE);
		if (ret) {
			k_mem_slab_free(&tx_mem_slab, blk);
			break;
		}
		blocks_written++;
	}

	/* Let last blocks drain, then stop */
	k_msleep(200);
	i2s_trigger(i2s_dev, I2S_DIR_TX, I2S_TRIGGER_DROP);
	k_msleep(50);
	audio_pa_enable(0);

	LOG_INF("Playback complete: %d blocks", blocks_written);
	return 0;
}

/* ================================================================
 *  Streaming chunk-by-chunk playback
 *
 *  I2S TX is started once in audio_stream_start() and kept running.
 *  audio_stream_feed() just writes blocks into the running stream.
 *  audio_stream_stop() drains and stops I2S.
 * ================================================================ */

static volatile bool stream_active;
static volatile bool stream_i2s_started;

int audio_stream_start(void)
{
	if (stream_active) {
		LOG_WRN("Stream already active");
		return -EBUSY;
	}

	stream_active = true;
	stream_i2s_started = false;

	/* Reset I2S TX and mem slab */
	i2s_trigger(i2s_dev, I2S_DIR_TX, I2S_TRIGGER_DROP);
	k_mem_slab_init(&tx_mem_slab, tx_slab_buf, BLOCK_SIZE, BLOCK_COUNT);

	struct i2s_config tx_cfg = {
		.word_size = SAMPLE_BITS,
		.channels = NUM_CHANNELS,
		.format = I2S_FMT_DATA_FORMAT_I2S,
		.options = I2S_OPT_BIT_CLK_MASTER | I2S_OPT_FRAME_CLK_MASTER,
		.frame_clk_freq = PLAYBACK_SAMPLE_RATE,
		.mem_slab = &tx_mem_slab,
		.block_size = BLOCK_SIZE,
		.timeout = 1000,
	};
	int ret = i2s_configure(i2s_dev, I2S_DIR_TX, &tx_cfg);
	if (ret) {
		LOG_ERR("I2S TX config failed: %d", ret);
		stream_active = false;
		return ret;
	}

	/* Enable PA once — stays on for all chunks */
	audio_pa_enable(1);

	return 0;
}

int audio_stream_feed(const int16_t *samples, int count)
{
	if (!stream_active || count <= 0) return 0;

	int ret;
	int mono_per_block = SAMPLES_PER_BLOCK / NUM_CHANNELS;
	int pcm_idx = 0;
	int blocks_written = 0;

	while (pcm_idx < count) {
		int block_start_idx = pcm_idx;
		int next_pcm_idx = pcm_idx;
		void *blk;
		ret = k_mem_slab_alloc(&tx_mem_slab, &blk,
				       stream_i2s_started ? K_MSEC(500)
							  : K_NO_WAIT);
		if (ret) {
			if (!stream_i2s_started) break;
			continue;
		}
		int16_t *out = (int16_t *)blk;
		int n = 0;
		while (n < mono_per_block && next_pcm_idx < count) {
			out[n * 2] = samples[next_pcm_idx];
			out[n * 2 + 1] = samples[next_pcm_idx];
			next_pcm_idx++;
			n++;
		}
		while (n < mono_per_block) {
			out[n * 2] = 0;
			out[n * 2 + 1] = 0;
			n++;
		}
		ret = i2s_write(i2s_dev, blk, BLOCK_SIZE);
		if (ret) {
			k_mem_slab_free(&tx_mem_slab, blk);

			if (ret == -EIO && stream_i2s_started) {
				int prep_ret = i2s_trigger(i2s_dev, I2S_DIR_TX,
							   I2S_TRIGGER_PREPARE);

				if (prep_ret) {
					LOG_ERR("I2S TX prepare failed: %d", prep_ret);
					return pcm_idx > 0 ? pcm_idx : prep_ret;
				}

				stream_i2s_started = false;
				blocks_written = 0;
				pcm_idx = block_start_idx;
				LOG_WRN("I2S TX underrun recovered; rebuffering stream");
				continue;
			}

			return pcm_idx > 0 ? pcm_idx : ret;
		}

		pcm_idx = next_pcm_idx;
		blocks_written++;

		/* Start I2S after pre-filling 2 blocks */
		if (!stream_i2s_started && blocks_written >= 2) {
			ret = i2s_trigger(i2s_dev, I2S_DIR_TX,
					  I2S_TRIGGER_START);
			if (ret) {
				LOG_ERR("I2S TX start failed: %d", ret);
				return ret;
			}
			stream_i2s_started = true;
		}
	}

	/* If I2S not started yet and we have blocks, start now */
	if (!stream_i2s_started && blocks_written > 0) {
		ret = i2s_trigger(i2s_dev, I2S_DIR_TX, I2S_TRIGGER_START);
		if (ret) {
			LOG_ERR("I2S TX late start failed: %d", ret);
			return pcm_idx > 0 ? pcm_idx : ret;
		}
		stream_i2s_started = true;
	}

	return pcm_idx;
}

int audio_stream_stop(void)
{
	if (!stream_active) return 0;

	stream_active = false;

	/* Let buffered blocks drain */
	if (stream_i2s_started) {
		k_msleep(200);
		i2s_trigger(i2s_dev, I2S_DIR_TX, I2S_TRIGGER_DROP);
		stream_i2s_started = false;
	}

	audio_pa_enable(0);

	/* Reinitialize mem slabs for clean state before next recording */
	k_mem_slab_init(&tx_mem_slab, tx_slab_buf, BLOCK_SIZE, BLOCK_COUNT);
	k_mem_slab_init(&rx_mem_slab, rx_slab_buf, BLOCK_SIZE, BLOCK_COUNT);

	return 0;
}

int audio_resample_24k_to_16k(const int16_t *in, int in_samples,
			      int16_t *out, int max_out)
{
	/* 24kHz → 16kHz = ratio 3:2
	 * For every 3 input samples, output 2 using linear interpolation.
	 * Output position i maps to input position i * 1.5
	 */
	int out_samples = (in_samples * 2) / 3;
	if (out_samples > max_out) {
		out_samples = max_out;
	}

	for (int i = 0; i < out_samples; i++) {
		/* Fixed-point: input position = i * 3 / 2 */
		int pos_x2 = i * 3;  /* position * 2 */
		int idx = pos_x2 / 2;
		int frac = pos_x2 % 2;  /* 0 or 1 (fraction * 2) */

		if (idx + 1 < in_samples && frac) {
			/* Linear interpolation: (in[idx] + in[idx+1]) / 2 */
			out[i] = (int16_t)(((int32_t)in[idx] + in[idx + 1]) / 2);
		} else if (idx < in_samples) {
			out[i] = in[idx];
		} else {
			out[i] = 0;
		}
	}

	return out_samples;
}
```

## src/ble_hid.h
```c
/*
 * BLE HID Host — shared state header
 * Provides mouse/keyboard state for LVGL input integration.
 * (Reused from lvgl_input module, screen dimensions moved to resource.h)
 */

#ifndef BLE_HID_H
#define BLE_HID_H

#include <stdint.h>
#include <stdbool.h>
#include <zephyr/kernel.h>
#include "resource.h"

/* ── Mouse shared state (written by BT thread, read by LVGL) ── */

struct mouse_input_state {
	int16_t x;
	int16_t y;
	uint16_t buttons;
	int8_t wheel;
	bool connected;
	char name[32];
};

extern struct mouse_input_state g_mouse;

/* ── Keyboard event queue (BT thread → LVGL thread) ── */

struct kb_event {
	uint32_t key;       /* LVGL key code or ASCII char */
	uint8_t pressed;    /* 1 = pressed, 0 = released */
};

#define KB_EVENT_QUEUE_SIZE 16

extern struct k_msgq kb_events;
extern volatile bool g_kb_connected;

int ble_hid_init(void);
void ble_hid_pause(void);
void ble_hid_resume(void);

#endif
```

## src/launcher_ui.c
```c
/*
 * launcher_ui.c — Desktop home screen: status bar + icon grid
 *
 * Layout (320×240):
 *   ┌─────────────────────────────────────┐
 *   │  Status Bar (24px)  BLE: ...        │
 *   ├─────────────────────────────────────┤
 *   │  ┌──┐  ┌──┐  ┌──┐  ┌──┐           │
 *   │  │AI│  │CAM│  │NES│  │PH│  Row 1   │
 *   │  └──┘  └──┘  └──┘  └──┘           │
 *   │  ┌──┐  ┌──┐  ┌──┐  ┌──┐           │
 *   │  │TER│ │MUS│ │FAC│ │IMU│  Row 2   │
 *   │  └──┘  └──┘  └──┘  └──┘           │
 *   └─────────────────────────────────────┘
 */

#include <zephyr/kernel.h>
#include <zephyr/sys/printk.h>
#include <lvgl.h>
#include "launcher_ui.h"
#include "app_manager.h"
#include "resource.h"

static lv_obj_t *home_screen;
static lv_obj_t *status_label;

/* ── Icon click handler ──────────────────────────────── */

static void icon_click_cb(lv_event_t *e)
{
	int app_id = (int)(intptr_t)lv_event_get_user_data(e);
	app_manager_launch(app_id);
}

/* ── Create one icon tile ────────────────────────────── */

static lv_obj_t *create_icon(lv_obj_t *parent, int app_id,
			     lv_coord_t x, lv_coord_t y)
{
	const app_info_t *app = app_manager_get(app_id);
	if (!app) {
		return NULL;
	}

	/* Container for icon + label */
	lv_obj_t *cont = lv_obj_create(parent);
	lv_obj_remove_style_all(cont);
	lv_obj_set_size(cont, ICON_SIZE + 8, ICON_SIZE + ICON_LABEL_H + 4);
	lv_obj_set_pos(cont, x, y);
	lv_obj_clear_flag(cont, LV_OBJ_FLAG_SCROLLABLE);

	/* Colored square icon */
	lv_obj_t *icon = lv_obj_create(cont);
	lv_obj_remove_style_all(icon);
	lv_obj_set_size(icon, ICON_SIZE, ICON_SIZE);
	lv_obj_align(icon, LV_ALIGN_TOP_MID, 0, 0);
	lv_obj_set_style_bg_color(icon, app->icon_color, 0);
	lv_obj_set_style_bg_opa(icon, LV_OPA_COVER, 0);
	lv_obj_set_style_radius(icon, 10, 0);
	lv_obj_add_flag(icon, LV_OBJ_FLAG_CLICKABLE);
	lv_obj_add_event_cb(icon, icon_click_cb, LV_EVENT_CLICKED,
			    (void *)(intptr_t)app_id);

	/* Symbol on icon */
	lv_obj_t *sym = lv_label_create(icon);
	lv_label_set_text(sym, app->icon_symbol ? app->icon_symbol : "?");
	lv_obj_set_style_text_color(sym, lv_color_white(), 0);
	lv_obj_set_style_text_font(sym, &lv_font_montserrat_18, 0);
	lv_obj_center(sym);

	/* Name label below icon */
	lv_obj_t *lbl = lv_label_create(cont);
	lv_label_set_text(lbl, app->name);
	lv_obj_set_style_text_color(lbl, lv_color_hex(0xcccccc), 0);
	lv_obj_set_style_text_font(lbl, &lv_font_source_han_sans_sc_16_cjk, 0);
	lv_obj_align(lbl, LV_ALIGN_BOTTOM_MID, 0, 0);

	/* Add icon to keyboard group for focus navigation */
	lv_group_t *group = app_manager_get_kb_group();
	if (group) {
		lv_group_add_obj(group, icon);
	}

	return cont;
}

/* ── Public API ──────────────────────────────────────── */

void launcher_ui_init(void)
{
	int count = app_manager_get_count();

	/* Create home screen */
	home_screen = lv_obj_create(NULL);
	lv_obj_set_style_bg_color(home_screen, lv_color_hex(0x0f0f23), 0);
	lv_obj_set_style_bg_opa(home_screen, LV_OPA_COVER, 0);
	lv_obj_clear_flag(home_screen, LV_OBJ_FLAG_SCROLLABLE);

	/* Status bar background */
	lv_obj_t *bar = lv_obj_create(home_screen);
	lv_obj_remove_style_all(bar);
	lv_obj_set_size(bar, SCREEN_WIDTH, STATUS_BAR_HEIGHT);
	lv_obj_align(bar, LV_ALIGN_TOP_LEFT, 0, 0);
	lv_obj_set_style_bg_color(bar, lv_color_hex(0x16213e), 0);
	lv_obj_set_style_bg_opa(bar, LV_OPA_COVER, 0);

	/* Status label */
	status_label = lv_label_create(bar);
	lv_label_set_text(status_label, "BLE: Scanning...");
	lv_obj_set_style_text_color(status_label, lv_color_hex(0x00ff88), 0);
	lv_obj_set_style_text_font(status_label, &lv_font_source_han_sans_sc_16_cjk, 0);
	lv_obj_align(status_label, LV_ALIGN_LEFT_MID, 8, 0);

	/* Title on right side of status bar */
	lv_obj_t *title = lv_label_create(bar);
	lv_label_set_text(title, "Zephyr-Card");
	lv_obj_set_style_text_color(title, lv_color_hex(0x8888aa), 0);
	lv_obj_set_style_text_font(title, &lv_font_source_han_sans_sc_16_cjk, 0);
	lv_obj_align(title, LV_ALIGN_RIGHT_MID, -8, 0);

	/* ── Icon Grid ── */
	int cols = ICON_COLS;
	int icon_total_w = ICON_SIZE + 8;
	int icon_total_h = ICON_SIZE + ICON_LABEL_H + 4;
	int grid_w = cols * icon_total_w + (cols - 1) * ICON_PADDING;
	int grid_h = ICON_ROWS * icon_total_h + (ICON_ROWS - 1) * ICON_PADDING;
	int x_start = (SCREEN_WIDTH - grid_w) / 2;
	int y_start = STATUS_BAR_HEIGHT +
		      (SCREEN_HEIGHT - STATUS_BAR_HEIGHT - grid_h) / 2;

	for (int i = 0; i < count && i < ICON_COLS * ICON_ROWS; i++) {
		int col = i % cols;
		int row = i / cols;
		int x = x_start + col * (icon_total_w + ICON_PADDING);
		int y = y_start + row * (icon_total_h + ICON_PADDING);
		create_icon(home_screen, i, x, y);
	}

	/* Register home screen with app manager */
	app_manager_set_home_screen(home_screen);

	/* Load home screen */
	lv_screen_load(home_screen);

	printk("[UI] Launcher home screen ready (%d apps)\n", count);
}

void launcher_ui_update_status(const char *ble_status)
{
	if (status_label && !app_manager_is_app_active()) {
		lv_label_set_text(status_label, ble_status);
	}
}
```

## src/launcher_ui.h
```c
/*
 * launcher_ui.h — Desktop home screen UI
 */

#ifndef LAUNCHER_UI_H
#define LAUNCHER_UI_H

#include <lvgl.h>

/* Initialize the launcher home screen with icon grid + status bar.
 * Must be called after app_manager has all apps registered. */
void launcher_ui_init(void);

/* Update status bar text (called from main loop) */
void launcher_ui_update_status(const char *ble_status);

#endif /* LAUNCHER_UI_H */
```
